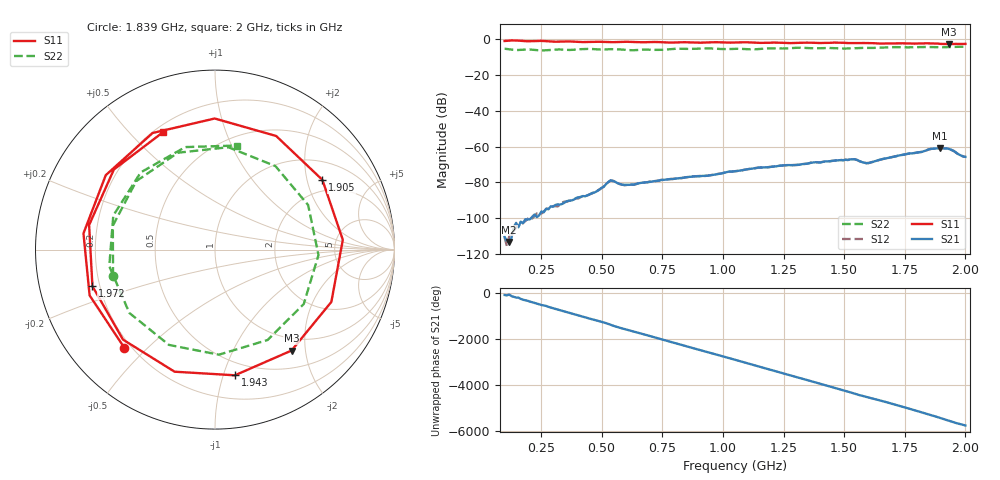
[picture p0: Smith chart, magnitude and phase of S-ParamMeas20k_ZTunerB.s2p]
!Keysight Technologies,N5242B,MY48420967,A.15.65.19
!Date: Monday, December 19, 2022 08:53:38
!Correction: S11(C  2-Port  )
!S21(C  2-Port  )
!S12(C  2-Port  )
!S22(C  2-Port  )
!S2P File: Measurements: S11, S21, S12, S22:
# Hz S  dB  R 50
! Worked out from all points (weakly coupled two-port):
!   201 points, 100 MHz to 2 GHz, reference 50 ohm
!   highest |S21| = -60.95 dB at 1.895 GHz (marker M1); lowest = -113.1 dB at 119 MHz (marker M2)
!   lowest |S11| = -3.0 dB at 1.933 GHz (marker M3), VSWR 5.80, Z = 38.9 - j87.1 ohm
!   |S11| at or under -10 dB: nowhere
!   |S22| runs from -6.5 to -4.5 dB; largest |S21 - S12| = 5.1e-06
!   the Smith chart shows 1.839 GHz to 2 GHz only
!   S11 on the Smith chart (normalised r, x): 1.839 GHz: 0.17, -0.43; 1.905 GHz: 1.57, +2.49; 1.943 GHz: 0.39, -1.09; 1.972 GHz: 0.17, -0.14; 2 GHz: 0.23, +0.63
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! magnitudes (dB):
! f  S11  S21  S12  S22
! 100 MHz  -1.3  -110.3  -110.6  -5.6
! 119 MHz  -1.0  -113.1  -110.0  -5.9
! 252 MHz  -1.2  -96.2  -97.3  -6.5
! 423 MHz  -1.9  -87.6  -87.6  -5.8
! 518 MHz  -1.8  -81.0  -81.0  -6.0
! 537 MHz  -1.9  -78.8  -78.9  -5.8
! 565.5 MHz  -1.9  -80.4  -80.4  -5.9
! 679.5 MHz  -2.0  -80.0  -80.1  -6.1
! 736.5 MHz  -1.9  -79.0  -78.9  -6.2
! 945.5 MHz  -2.0  -76.1  -76.0  -5.4
! 1.05 GHz  -2.1  -73.8  -73.7  -5.6
! 1.373 GHz  -2.3  -68.9  -68.9  -5.3
! 1.544 GHz  -2.5  -67.1  -67.1  -5.3
! 1.601 GHz  -2.4  -69.2  -69.2  -5.1
! 1.687 GHz  -2.7  -66.2  -66.2  -4.8
! 1.839 GHz  -2.6  -62.2  -62.2  -4.6
! 1.895 GHz  -2.9  -60.9  -60.9  -4.8
! 1.905 GHz  -2.9  -61.0  -61.0  -4.8
! 1.933 GHz  -3.0  -61.4  -61.4  -4.6
! 1.943 GHz  -3.0  -61.9  -61.9  -4.6
! 1.972 GHz  -2.9  -64.3  -64.4  -4.5
! 2 GHz  -2.9  -65.8  -65.8  -4.6
